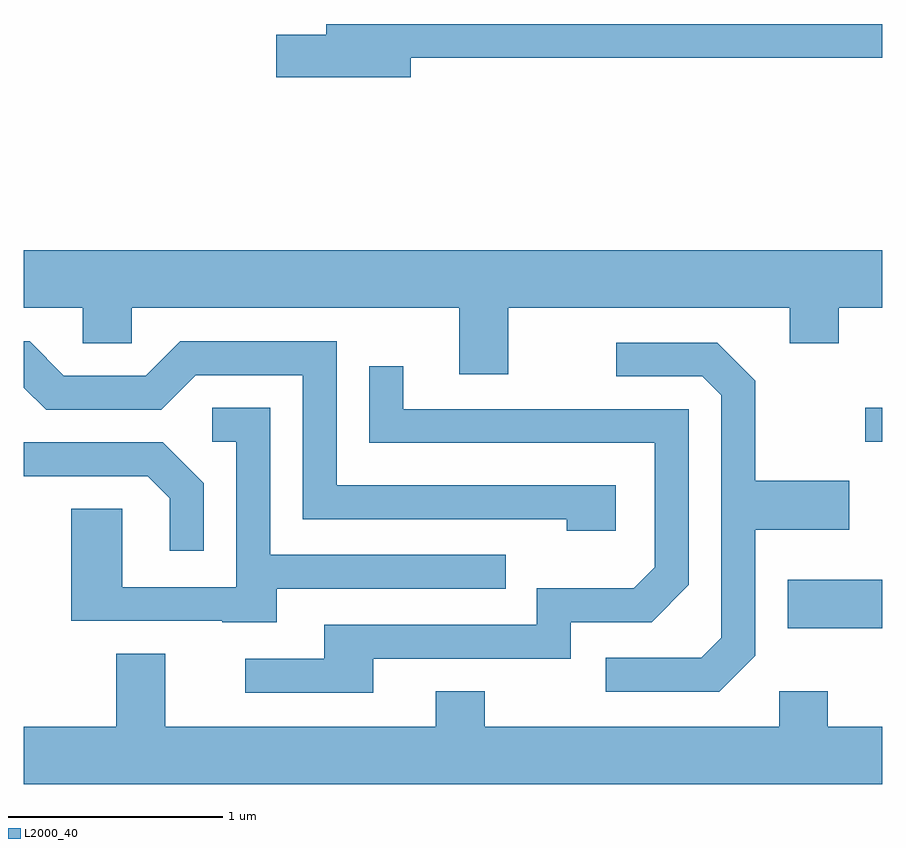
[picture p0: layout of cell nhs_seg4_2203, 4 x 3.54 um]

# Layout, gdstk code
import gdstk
lib = gdstk.Library(unit=1e-6, precision=1e-09)
def R(c, l, rs):  # rectangles x0, y0, x1, y1
    for r in rs: c.add(gdstk.rectangle(r[:2], r[2:], *l))
def P(c, l, *ps):  # polygons
    for p in ps: c.add(gdstk.Polygon(p, *l))
L2000_40 = (2000, 40)

nhs_seg4_2203 = lib.new_cell('nhs_seg4_2203')
R(nhs_seg4_2203, L2000_40, [(253.171,1308.781,253.611,1309.009), (253.533,1309.651,253.611,1309.809)])
P(nhs_seg4_2203, L2000_40, [(251.414,1311.441),(253.611,1311.441),(253.611,1311.599),(251.021,1311.599),(251.021,1311.549),(250.786,1311.549),(250.786,1311.351),(251.414,1311.351)],
  [(251.869,1310.276),(253.181,1310.276),(253.181,1310.111),(253.409,1310.111),(253.409,1310.276),(253.611,1310.276),(253.611,1310.544),(249.611,1310.544),(249.611,1310.276),(249.886,1310.276),(249.886,1310.111),(250.114,1310.111),(250.114,1310.276),(251.641,1310.276),(251.641,1309.966),(251.869,1309.966)],
  [(252.369,1309.449),(251.069,1309.449),(251.069,1310.119),(250.339,1310.119),(250.179,1309.959),(249.797,1309.959),(249.637,1310.119),(249.611,1310.119),(249.611,1309.904),(249.714,1309.801),(250.252,1309.801),(250.412,1309.961),(250.911,1309.961),(250.911,1309.291),(252.141,1309.291),(252.141,1309.236),(252.369,1309.236)],
  [(253.019,1308.654),(253.019,1309.241),(253.459,1309.241),(253.459,1309.469),(253.019,1309.469),(253.019,1309.937),(252.842,1310.114),(252.373,1310.114),(252.373,1309.956),(252.774,1309.956),(252.861,1309.869),(252.861,1308.737),(252.769,1308.644),(252.323,1308.644),(252.323,1308.486),(252.852,1308.486)],
  [(251.239,1308.641),(252.159,1308.641),(252.159,1308.811),(252.537,1308.811),(252.709,1308.984),(252.709,1309.804),(251.379,1309.804),(251.379,1310.003),(251.221,1310.003),(251.221,1309.646),(252.551,1309.646),(252.551,1309.067),(252.454,1308.969),(252.001,1308.969),(252.001,1308.799),(251.011,1308.799),(251.011,1308.639),(250.643,1308.639),(250.643,1308.481),(251.239,1308.481)],
  [(250.789,1308.966),(251.858,1308.966),(251.858,1309.124),(250.759,1309.124),(250.759,1309.809),(250.488,1309.809),(250.488,1309.651),(250.601,1309.651),(250.601,1308.974),(250.069,1308.974),(250.069,1309.339),(249.831,1309.339),(249.831,1308.816),(250.535,1308.816),(250.535,1308.811),(250.789,1308.811)],
  [(250.449,1309.457),(250.257,1309.649),(249.611,1309.649),(249.611,1309.491),(250.189,1309.491),(250.291,1309.389),(250.291,1309.143),(250.449,1309.143)],
  [(253.611,1308.324),(253.359,1308.324),(253.359,1308.489),(253.131,1308.489),(253.131,1308.324),(251.759,1308.324),(251.759,1308.489),(251.531,1308.489),(251.531,1308.324),(250.269,1308.324),(250.269,1308.664),(250.041,1308.664),(250.041,1308.324),(249.611,1308.324),(249.611,1308.056),(253.611,1308.056)])

lib.write_gds('nhs_seg4_2203.gds')
